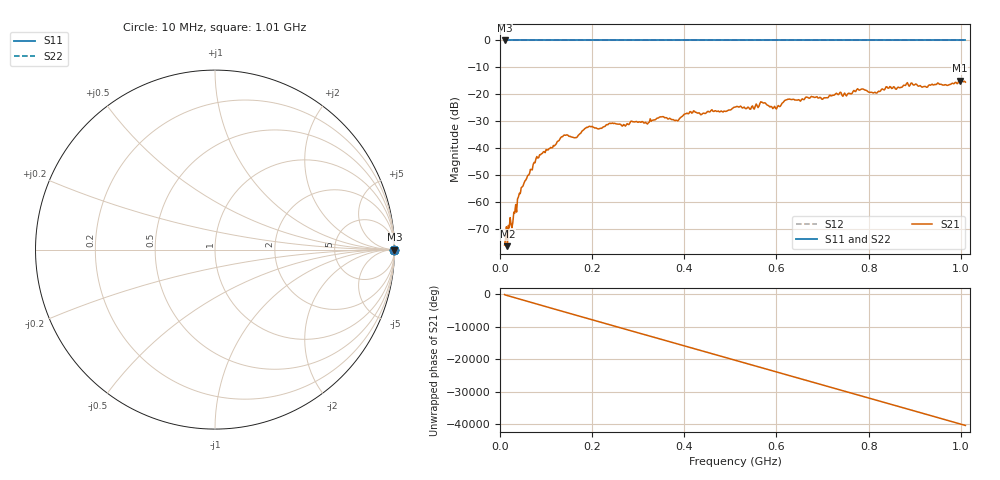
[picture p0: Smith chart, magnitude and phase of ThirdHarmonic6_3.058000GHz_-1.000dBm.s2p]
! 8/17/2025 8:54:16 AM
! C:\ANRITSUVNA\TEMP\TEMP.S2P
! CHANNEL.1
! TR.MEASUREMENT
! RAW.DATA
! RF.CORRECTION.OFF
! AVERAGING.OFF
! IF.BANDWIDTH: 5KHZ
! SWEEPTYPE:  FREQ.SWEEP(Linear)
! Reference Plane Port Info
! PORT:  PORT1  PORT2
! DISTANCE:  0  m  0  m
! TIME:  0  s  0  s
! PHASE.OFFSET:  0  deg.  0  deg.
! LOSS:  0  dB  0  dB
! REF.LOSS:  0  dB  0  dB
! REF.FREQ:  0  Hz  0  Hz
! Power Info
! POWER:  -20  dBm  -20  dBm
! EFF.POWER:  -20  dBm  -20  dBm
! SOURCE.ATTEN:  0  dB  0  dB
! TEST.ATTEN:  0  dB  0  dB
# GHZ S RI R 50.0
! FREQ.GHZ  S11RE  S11IM  S21RE  S21IM  S12RE  S12IM  S22RE  S22IM
!; PortSelection: Port_12
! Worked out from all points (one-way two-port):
!   501 points, 10 MHz to 1.01 GHz, reference 50 ohm
!   highest |S21| = -14.86 dB at 998 MHz (marker M1); lowest = -76.2 dB at 16 MHz (marker M2)
!   lowest |S11| = 0.0 dB at 10 MHz (marker M3)
!   |S11| at or under -10 dB: nowhere
!   |S22| runs from 0.0 to 0.0 dB; largest |S21 - S12| = 1.2
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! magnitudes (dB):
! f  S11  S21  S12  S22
! 10 MHz  0.0  -75.8  0.0  0.0
! 16 MHz  0.0  -76.2  0.0  0.0
! 28 MHz  0.0  -67.2  0.0  0.0
! 44 MHz  0.0  -56.7  0.0  0.0
! 82 MHz  0.0  -43.6  0.0  0.0
! 136 MHz  0.0  -35.6  0.0  0.0
! 164 MHz  0.0  -36.0  0.0  0.0
! 178 MHz  0.0  -33.5  0.0  0.0
! 344 MHz  0.0  -28.7  0.0  0.0
! 384 MHz  0.0  -29.6  0.0  0.0
! 416 MHz  0.0  -26.9  0.0  0.0
! 510 MHz  0.0  -24.7  0.0  0.0
! 548 MHz  0.0  -24.2  0.0  0.0
! 570 MHz  0.0  -23.0  0.0  0.0
! 596 MHz  0.0  -24.4  0.0  0.0
! 624 MHz  0.0  -21.8  0.0  0.0
! 678 MHz  0.0  -20.9  0.0  0.0
! 786 MHz  0.0  -18.0  0.0  0.0
! 814 MHz  0.0  -19.2  0.0  0.0
! 844 MHz  0.0  -17.6  0.0  0.0
! 998 MHz  0.0  -14.9  0.0  0.0
! 1.01 GHz  0.0  -15.4  0.0  0.0
